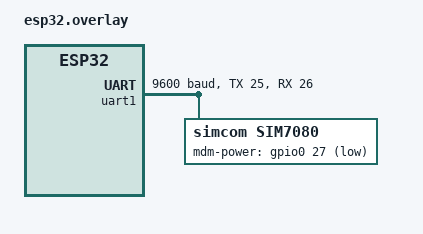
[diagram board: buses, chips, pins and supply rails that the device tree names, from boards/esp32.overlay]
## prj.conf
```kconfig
CONFIG_NETWORKING=y
CONFIG_NET_NATIVE=n

CONFIG_NET_SOCKETS=y
CONFIG_NET_SOCKETS_POSIX_NAMES=y
CONFIG_NET_TX_STACK_SIZE=2048
CONFIG_NET_RX_STACK_SIZE=2048

# log
CONFIG_LOG=y
CONFIG_LOG_DEFAULT_LEVEL=1
CONFIG_NET_LOG=y
CONFIG_MODEM_LOG_LEVEL_DBG=y
CONFIG_NET_SOCKETS_LOG_LEVEL_DBG=y

CONFIG_MBEDTLS_DEBUG=y
CONFIG_MBEDTLS_MEMORY_DEBUG=y
CONFIG_MBEDTLS_DEBUG_LEVEL=4

# Enable the MQTT Lib
CONFIG_MQTT_LIB=y

# MQTT TLS
CONFIG_MAIN_STACK_SIZE=4096
CONFIG_MQTT_LIB_TLS=y
CONFIG_NET_SOCKETS_SOCKOPT_TLS=y

# TLS configuration
CONFIG_MBEDTLS=y
CONFIG_MBEDTLS_BUILTIN=y
CONFIG_MBEDTLS_ENABLE_HEAP=y
CONFIG_MBEDTLS_HEAP_SIZE=70000
CONFIG_MBEDTLS_SSL_MAX_CONTENT_LEN=5120

CONFIG_ENTROPY_GENERATOR=y

CONFIG_MINIMAL_LIBC_MALLOC_ARENA_SIZE=10240
CONFIG_HEAP_MEM_POOL_SIZE=81920

CONFIG_ESP_SPIRAM=y
CONFIG_ESP_HEAP_MIN_EXTRAM_THRESHOLD=4096
CONFIG_ESP_HEAP_MEM_POOL_REGION_1_SIZE=0
CONFIG_ESP_HEAP_SEARCH_ALL_REGIONS=n

# simcom7080g
CONFIG_SERIAL=y
CONFIG_MODEM=y
CONFIG_MODEM_SIM7080=y
CONFIG_MODEM_SIMCOM_SIM7080_RAT_M1=y

# uncomment if NB-IOT is supported in your region.
#CONFIG_MODEM_SIMCOM_SIM7080_RAT_NB1=y
```

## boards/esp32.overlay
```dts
&uart1 {
       status = "okay";
       current-speed = <9600>;
       tx-pin = <25>;
       rx-pin = <26>;
       sim7080 {
               compatible = "simcom,sim7080";
               label = "sim7080";
               mdm-power-gpios = <&gpio0 27 GPIO_ACTIVE_LOW>;
       };
};
```

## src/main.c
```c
/*
 * Copyright (c) 2017 Intel Corporation
 *
 * SPDX-License-Identifier: Apache-2.0
 */

#include <logging/log.h>
LOG_MODULE_REGISTER(mqtt_publisher_sample, LOG_LEVEL_DBG);

#include <zephyr.h>
#include <sys/printk.h>
#include <string.h>
#include <errno.h>

#include <net/net_if.h>
#include <net/net_core.h>
#include <net/net_context.h>
#include <net/net_mgmt.h>
#include <net/socket.h>
#include <net/mqtt.h>
#include <random/rand32.h>

#include "config.h"

/* Buffers for MQTT client. */
static uint8_t rx_buffer[1024];
static uint8_t tx_buffer[1024];

/* The mqtt client struct */
static struct mqtt_client client_ctx;

/* MQTT Broker details. */
static struct sockaddr_storage broker;

static struct zsock_pollfd fds[1];
static int nfds;

static bool connected;

static struct zsock_addrinfo hints;
static struct zsock_addrinfo *haddr;

#if defined(CONFIG_TLS_CREDENTIAL_FILENAMES)
static const unsigned char ca_certificate[] = "ca.der";
static const unsigned char server_certificate[] = "device.der";
static const unsigned char private_key[] = "device.key";
#else
static const unsigned char ca_certificate[] = {
#include "ca.der.inc"
};
static const unsigned char server_certificate[] = {
#include "device.der.inc"
};
static const unsigned char private_key[] = {
#include "device_key.der.inc"
};
#endif

#define APP_CA_CERT_TAG 1

static sec_tag_t m_sec_tags[] = {
		APP_CA_CERT_TAG,
};

static int tls_init(void)
{
	int err = -EINVAL;

	err = tls_credential_add(APP_CA_CERT_TAG, TLS_CREDENTIAL_CA_CERTIFICATE,
			 ca_certificate, sizeof(ca_certificate));
	if (err != 0) {
		LOG_ERR("Failed to register ca certificate: %d", err);
		return err;
	}

	err = tls_credential_add(APP_CA_CERT_TAG,
				 TLS_CREDENTIAL_SERVER_CERTIFICATE,
				 server_certificate,
				 sizeof(server_certificate));
	if (err < 0) {
		LOG_ERR("Failed to register server certificate: %d", err);
	}


	err = tls_credential_add(APP_CA_CERT_TAG,
				 TLS_CREDENTIAL_PRIVATE_KEY,
				 private_key, sizeof(private_key));
	if (err < 0) {
		LOG_ERR("Failed to register private key: %d", err);
	}

	return err;
}

static void prepare_fds(struct mqtt_client *client)
{
	if (client->transport.type == MQTT_TRANSPORT_SECURE) {
		fds[0].fd = client->transport.tls.sock;
	}

	fds[0].events = ZSOCK_POLLIN;
	nfds = 1;
}

static void clear_fds(void)
{
	nfds = 0;
}

static int wait(int timeout)
{
	int ret = 0;

	if (nfds > 0) {
		ret = zsock_poll(fds, nfds, timeout);
		if (ret < 0) {
			LOG_ERR("poll error: %d", errno);
		}
	}

	return ret;
}

void mqtt_evt_handler(struct mqtt_client *const client,
		      const struct mqtt_evt *evt)
{
	int err;

	switch (evt->type) {
	case MQTT_EVT_CONNACK:
		if (evt->result != 0) {
			LOG_ERR("MQTT connect failed %d", evt->result);
			break;
		}

		connected = true;
		LOG_INF("MQTT client connected!");

		break;

	case MQTT_EVT_DISCONNECT:
		LOG_INF("MQTT client disconnected %d", evt->result);

		connected = false;
		clear_fds();

		break;

	case MQTT_EVT_PUBACK:
		if (evt->result != 0) {
			LOG_ERR("MQTT PUBACK error %d", evt->result);
			break;
		}

		LOG_INF("PUBACK packet id: %u", evt->param.puback.message_id);

		break;

	case MQTT_EVT_PUBREC:
		if (evt->result != 0) {
			LOG_ERR("MQTT PUBREC error %d", evt->result);
			break;
		}

		LOG_INF("PUBREC packet id: %u", evt->param.pubrec.message_id);

		const struct mqtt_pubrel_param rel_param = {
			.message_id = evt->param.pubrec.message_id
		};

		err = mqtt_publish_qos2_release(client, &rel_param);
		if (err != 0) {
			LOG_ERR("Failed to send MQTT PUBREL: %d", err);
		}

		break;

	case MQTT_EVT_PUBCOMP:
		if (evt->result != 0) {
			LOG_ERR("MQTT PUBCOMP error %d", evt->result);
			break;
		}

		LOG_INF("PUBCOMP packet id: %u",
			evt->param.pubcomp.message_id);

		break;

	case MQTT_EVT_PINGRESP:
		LOG_INF("PINGRESP packet");
		break;

	default:
		break;
	}
}

static int publish(struct mqtt_client *client, enum mqtt_qos qos)
{

	char topic[] = "metacard_esp32";
	char payload[] = "Hello World!";
	struct mqtt_publish_param param;

	param.message.topic.qos = qos;
	param.message.topic.topic.utf8 = (uint8_t *)topic;
	param.message.topic.topic.size = strlen(topic);
	param.message.payload.data = (uint8_t *)payload;
	param.message.payload.len = strlen(payload);
	param.message_id = sys_rand32_get();
	param.dup_flag = 0U;
	param.retain_flag = 0U;

	return mqtt_publish(client, &param);
}

#define RC_STR(rc) ((rc) == 0 ? "OK" : "ERROR")

#define PRINT_RESULT(func, rc) \
	LOG_INF("%s: %d <%s>", (func), rc, RC_STR(rc))


static void broker_init(void)
{
	struct sockaddr_in *broker4 = (struct sockaddr_in *)&broker;

	broker4->sin_family = AF_INET;
	broker4->sin_port = htons(SERVER_PORT);

	net_ipaddr_copy(&broker4->sin_addr,
			&net_sin(haddr->ai_addr)->sin_addr);

}

static void client_init(struct mqtt_client *client)
{
	mqtt_client_init(client);
	broker_init();

	/* MQTT client configuration */
	client->broker = &broker;
	client->evt_cb = mqtt_evt_handler;
	client->client_id.utf8 = (uint8_t *)MQTT_CLIENTID;
	client->client_id.size = strlen(MQTT_CLIENTID);
	client->password = NULL;
	client->user_name = NULL;
	client->protocol_version = MQTT_VERSION_3_1_1;

	/* MQTT buffers configuration */
	client->rx_buf = rx_buffer;
	client->rx_buf_size = sizeof(rx_buffer);
	client->tx_buf = tx_buffer;
	client->tx_buf_size = sizeof(tx_buffer);

	/* MQTT transport configuration */
	client->transport.type = MQTT_TRANSPORT_SECURE;

	struct mqtt_sec_config *tls_config = &client->transport.tls.config;

	tls_config->peer_verify = TLS_PEER_VERIFY_NONE;
	tls_config->cipher_list = NULL;
	tls_config->sec_tag_list = m_sec_tags;
	tls_config->sec_tag_count = ARRAY_SIZE(m_sec_tags);
	tls_config->hostname = SERVER_HOSTNAME;
	tls_config->cert_nocopy = TLS_CERT_NOCOPY_OPTIONAL;
}

#define SUCCESS_OR_EXIT(rc) { if (rc != 0) { return 1; } }
#define SUCCESS_OR_BREAK(rc) { if (rc != 0) { break; } }

/* In this routine we block until the connected variable is 1 */
static int try_to_connect(struct mqtt_client *client)
{
	int rc, i = 0;

	while (i++ < APP_CONNECT_TRIES && !connected) {

		client_init(client);

		rc = mqtt_connect(client);
		if (rc != 0) {
			PRINT_RESULT("mqtt_connect", rc);
			k_sleep(K_MSEC(APP_SLEEP_MSECS));
			continue;
		}

		prepare_fds(client);

		if (wait(APP_CONNECT_TIMEOUT_MS)) {
			mqtt_input(client);
		}

		if (!connected) {
			mqtt_abort(client);
		}
	}

	if (connected) {
		return 0;
	}

	return -EINVAL;
}

static int process_mqtt_and_sleep(struct mqtt_client *client, int timeout)
{
	int64_t remaining = timeout;
	int64_t start_time = k_uptime_get();
	int rc;

	while (remaining > 0 && connected) {
		if (wait(remaining)) {
			rc = mqtt_input(client);
			if (rc != 0) {
				PRINT_RESULT("mqtt_input", rc);
				return rc;
			}
		}

		rc = mqtt_live(client);
		if (rc != 0 && rc != -EAGAIN) {
			PRINT_RESULT("mqtt_live", rc);
			return rc;
		} else if (rc == 0) {
			rc = mqtt_input(client);
			if (rc != 0) {
				PRINT_RESULT("mqtt_input", rc);
				return rc;
			}
		}

		remaining = timeout + start_time - k_uptime_get();
	}

	return 0;
}

static int get_mqtt_broker_addrinfo(void)
{
	int retries = 3;
	int rc = -EINVAL;

	while (retries--) {
		hints.ai_family = AF_INET;
		hints.ai_socktype = SOCK_STREAM;
		hints.ai_protocol = 0;

		rc = zsock_getaddrinfo(SERVER_HOSTNAME, "8883",
				       &hints, &haddr);
		if (rc == 0) {
			LOG_INF("DNS resolved for %s:%d", SERVER_HOSTNAME, SERVER_PORT);
			return 0;
		}

		LOG_ERR("DNS not resolved for %s:%d, retrying", SERVER_HOSTNAME, SERVER_PORT);
	}

	return rc;
}

int main(void)
{
	int rc = 0;

	rc = get_mqtt_broker_addrinfo();
	PRINT_RESULT("get_mqtt_broker_addrinfo", rc);
	SUCCESS_OR_EXIT(rc);

	rc = tls_init();
	PRINT_RESULT("tls_init", rc);

	LOG_INF("attempting to connect: ");
	rc = try_to_connect(&client_ctx);
	PRINT_RESULT("try_to_connect", rc);
	SUCCESS_OR_EXIT(rc);

	while (connected) {
		rc = mqtt_ping(&client_ctx);
		PRINT_RESULT("mqtt_ping", rc);
		SUCCESS_OR_BREAK(rc);

		rc = process_mqtt_and_sleep(&client_ctx, APP_SLEEP_MSECS);
		SUCCESS_OR_BREAK(rc);

		rc = publish(&client_ctx, MQTT_QOS_0_AT_MOST_ONCE);
		PRINT_RESULT("mqtt_publish", rc);
		SUCCESS_OR_BREAK(rc);
	}

	rc = mqtt_disconnect(&client_ctx);
	PRINT_RESULT("mqtt_disconnect", rc);

	LOG_INF("Bye!");

	return 0;
}
```
